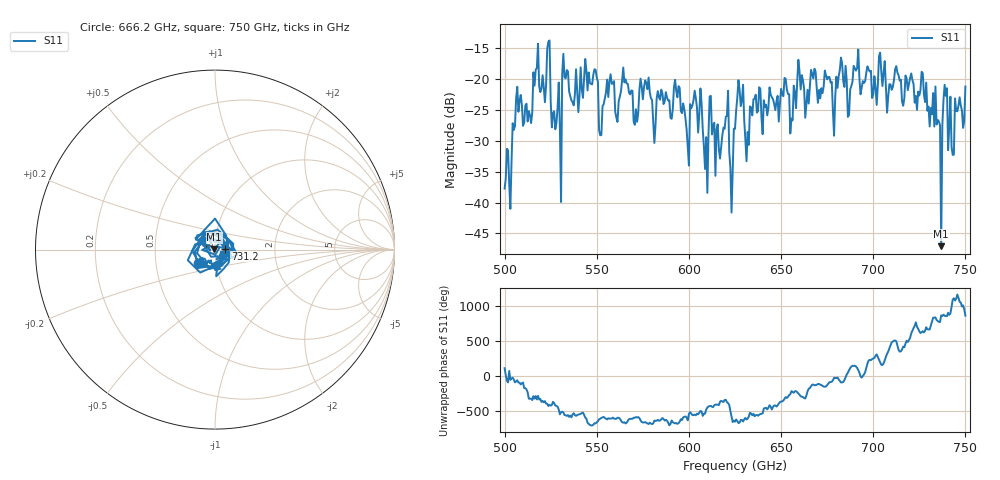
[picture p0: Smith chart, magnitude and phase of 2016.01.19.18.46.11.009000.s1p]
!Created with skrf (http://scikit-rf.org).
# GHz S RI R 50.0
!freq ReS11 ImS11
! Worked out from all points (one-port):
!   401 points, 500 GHz to 750 GHz, reference 50 ohm
!   lowest |S11| = -47.1 dB at 736.9 GHz (marker M1), VSWR 1.01, Z = 49.6 + j0.203 ohm
!   |S11| at or under -10 dB: start of sweep to end of sweep
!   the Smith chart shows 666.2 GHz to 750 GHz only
!   S11 on the Smith chart (normalised r, x): 666.2 GHz: 0.82, -0.12; 731.2 GHz: 1.12, +0.01; 750 GHz: 0.86, +0.08
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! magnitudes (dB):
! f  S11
! 500 GHz  -37.8
! 507.5 GHz  -25.3
! 513.8 GHz  -25.9
! 516.9 GHz  -18.5
! 531.2 GHz  -19.2
! 533.1 GHz  -19.9
! 549.4 GHz  -18.5
! 552.5 GHz  -29.1
! 562.5 GHz  -22.9
! 593.8 GHz  -23.0
! 605.6 GHz  -25.7
! 609.4 GHz  -29.4
! 620 GHz  -26.1
! 623.1 GHz  -41.6
! 625 GHz  -28.1
! 628.1 GHz  -24.4
! 631.2 GHz  -33.3
! 637.5 GHz  -25.2
! 656.2 GHz  -26.7
! 666.2 GHz  -18.5
! 687.5 GHz  -21.7
! 690.6 GHz  -18.7
! 718.8 GHz  -21.8
! 731.2 GHz  -24.7
! 736.9 GHz  -47.1
! 738.8 GHz  -21.0
! 742.5 GHz  -31.0
! 750 GHz  -21.2
